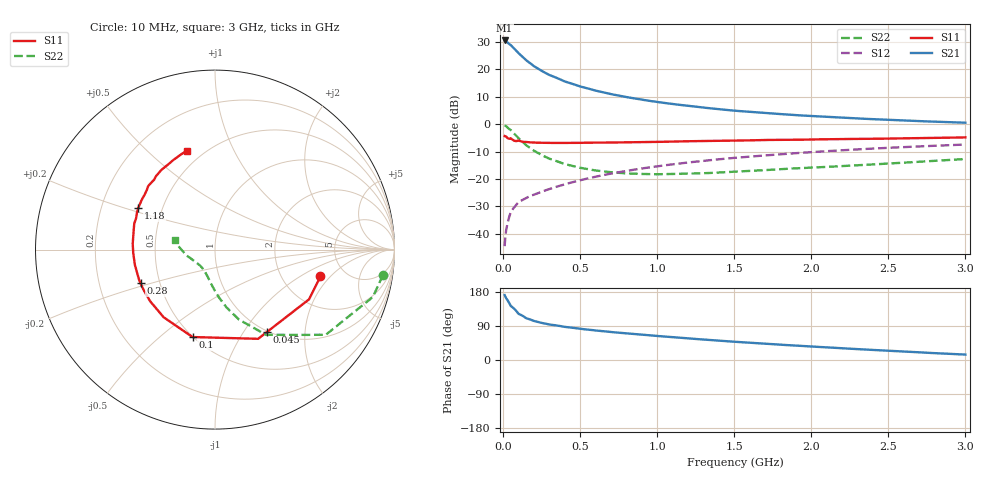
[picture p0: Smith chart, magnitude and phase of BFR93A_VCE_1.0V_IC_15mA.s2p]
! Infineon Technologies  Discrete & RF Semiconductors
! BFR93A
! VCE =  1.0 V,  IC =  15 mA
! Common Emitter S-Parameters:  Nov 2015
# GHz  S  MA  R  50
!  f  S11  S21  S12  S22
! GHz  MAG  ANG  MAG  ANG  MAG  ANG  MAG  ANG
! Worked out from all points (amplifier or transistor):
!   180 points, 10 MHz to 3 GHz, reference 50 ohm
!   highest |S21| = 30.6 dB at 10 MHz (marker M1)
!   |S21| within 3 dB of that: start of sweep to 72.15 MHz
!   unconditionally stable (mu >= 1): 423 MHz to end of sweep
!   at 160 MHz: K = 0.65, MSG = 24.8 dB, |S12| = -26.7 dB
!   at 1.22 GHz: K = 1.11, MAG = 8.2 dB, |S12| = -13.9 dB
!   at 3 GHz: K = 1.03, MAG = 3.0 dB, |S12| = -7.5 dB
!   S11 on the Smith chart (normalised r, x): 10 MHz: 3.28, -1.55; 45 MHz: 0.98, -1.28; 100 MHz: 0.50, -0.65; 280 MHz: 0.39, -0.18; 1.18 GHz: 0.37, +0.22; 3 GHz: 0.41, +0.67
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0.01  0.6062 -14.3  33.74 171.3  0.0059 83.5  0.9464 -8.6
0.02  0.5926 -27.9  32.72 163.2  0.0116 77.4  0.9185 -16.7
0.045  0.5428 -58.0  28.35 146.6  0.0226 66.1  0.7936 -33.7
0.05  0.5521 -64.2  27.81 142.7  0.0248 65.0  0.7785 -37.6
0.1  0.5029 -104.4  19.78 122.0  0.0374 55.6  0.5533 -59.1
0.15  0.4733 -127.2  14.62 110.3  0.045 53.6  0.4122 -71.1
0.2  0.4618 -141.6  11.46 103.1  0.0516 54.7  0.327 -78.9
0.24  0.4569 -149.6  9.777 99.0  0.0569 55.8  0.2826 -83.5
0.26  0.4562 -153.0  9.072 97.0  0.0596 56.4  0.2642 -85.7
0.28  0.4552 -155.7  8.488 95.5  0.0624 57.0  0.2489 -87.5
0.3  0.4552 -158.4  7.911 93.7  0.0652 57.6  0.2339 -89.6
0.4  0.4545 -169.4  6.02 87.4  0.0794 60.2  0.1863 -97.7
0.52  0.4563 -179.0  4.72 81.5  0.0973 61.5  0.156 -105.3
0.6  0.4595 176.0  4.097 77.9  0.1095 62.0  0.1424 -110.5
0.7  0.4608 171.1  3.536 73.8  0.1247 62.0  0.1325 -116.4
0.82  0.4673 165.5  3.053 69.5  0.1426 61.6  0.1252 -123.4
1.02  0.4748 157.4  2.493 62.8  0.1726 60.1  0.1217 -133.5
1.18  0.4857 151.7  2.192 57.8  0.1962 58.4  0.1243 -141.4
1.52  0.4987 141.3  1.744 47.7  0.2444 54.4  0.1361 -154.8
2.02  0.5257 128.3  1.396 35.2  0.3104 47.9  0.1612 -169.1
2.52  0.5455 116.9  1.19 24.0  0.3715 40.7  0.192 178.5
3  0.572 106.1  1.061 14.3  0.424 33.6  0.2307 166.7
